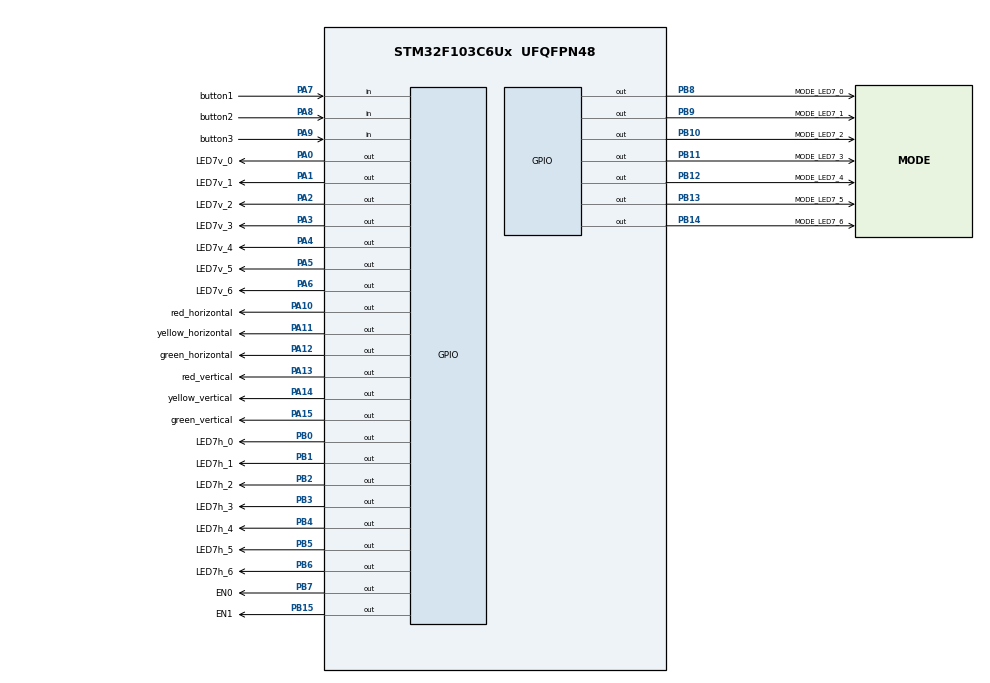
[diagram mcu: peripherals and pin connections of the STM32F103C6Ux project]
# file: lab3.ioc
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Mcu.Family=STM32F1
Mcu.Name=STM32F103C6Ux
Mcu.Package=UFQFPN48
NVIC.PriorityGroup=NVIC_PRIORITYGROUP_4
NVIC.TIM2_IRQn=true\:0\:0\:false\:false\:true\:true\:true
PA0-WKUP.GPIO_Label=LED7v_0
PA0-WKUP.Signal=GPIO_Output
PA1.GPIO_Label=LED7v_1
PA1.Signal=GPIO_Output
PA10.GPIO_Label=red_horizontal
PA10.Signal=GPIO_Output
PA11.GPIO_Label=yellow_horizontal
PA11.Signal=GPIO_Output
PA12.GPIO_Label=green_horizontal
PA12.Signal=GPIO_Output
PA13.GPIO_Label=red_vertical
PA13.Signal=GPIO_Output
PA14.GPIO_Label=yellow_vertical
PA14.Signal=GPIO_Output
PA15.GPIO_Label=green_vertical
PA15.Signal=GPIO_Output
PA2.GPIO_Label=LED7v_2
PA2.Signal=GPIO_Output
PA3.GPIO_Label=LED7v_3
PA3.Signal=GPIO_Output
PA4.GPIO_Label=LED7v_4
PA4.Signal=GPIO_Output
PA5.GPIO_Label=LED7v_5
PA5.Signal=GPIO_Output
PA6.GPIO_Label=LED7v_6
PA6.Signal=GPIO_Output
PA7.GPIO_Label=button1
PA7.GPIO_PuPd=GPIO_PULLUP
PA7.Signal=GPIO_Input
PA8.GPIO_Label=button2
PA8.GPIO_PuPd=GPIO_PULLUP
PA8.Signal=GPIO_Input
PA9.GPIO_Label=button3
PA9.GPIO_PuPd=GPIO_PULLUP
PA9.Signal=GPIO_Input
PB0.GPIO_Label=LED7h_0
PB0.Signal=GPIO_Output
PB1.GPIO_Label=LED7h_1
PB1.Signal=GPIO_Output
PB10.GPIO_Label=MODE_LED7_2
PB10.Signal=GPIO_Output
PB11.GPIO_Label=MODE_LED7_3
PB11.Signal=GPIO_Output
PB12.GPIO_Label=MODE_LED7_4
PB12.Signal=GPIO_Output
PB13.GPIO_Label=MODE_LED7_5
PB13.Signal=GPIO_Output
PB14.GPIO_Label=MODE_LED7_6
PB14.Signal=GPIO_Output
PB15.GPIO_Label=EN1
PB15.Signal=GPIO_Output
PB2.GPIO_Label=LED7h_2
PB2.Signal=GPIO_Output
PB3.GPIO_Label=LED7h_3
PB3.Signal=GPIO_Output
PB4.GPIO_Label=LED7h_4
PB4.Signal=GPIO_Output
PB5.GPIO_Label=LED7h_5
PB5.Signal=GPIO_Output
PB6.GPIO_Label=LED7h_6
PB6.Signal=GPIO_Output
PB7.GPIO_Label=EN0
PB7.Signal=GPIO_Output
PB8.GPIO_Label=MODE_LED7_0
PB8.Signal=GPIO_Output
PB9.GPIO_Label=MODE_LED7_1
PB9.Signal=GPIO_Output
ProjectManager.HeapSize=0x200
ProjectManager.StackSize=0x400
ProjectManager.TargetToolchain=STM32CubeIDE
RCC.APB1Freq_Value=8000000
RCC.APB2Freq_Value=8000000
TIM2.Period=9
TIM2.Prescaler=7999
VP_SYS_VS_ND.Mode=No_Debug
VP_TIM2_VS_ClockSourceINT.Mode=Internal
board=custom

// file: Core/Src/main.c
/* USER CODE BEGIN Header */
/**
  ******************************************************************************
  * @file           : main.c
  * @brief          : Main program body
  ******************************************************************************
  * @attention
  *
  * <h2><center>&copy; Copyright (c) 2022 STMicroelectronics.
  * All rights reserved.</center></h2>
  *
  * This software component is licensed by ST under BSD 3-Clause license,
  * the "License"; You may not use this file except in compliance with the
  * License. You may obtain a copy of the License at:
  *                        opensource.org/licenses/BSD-3-Clause
  *
  ******************************************************************************
  */
/* USER CODE END Header */
#include <fsm_automatic.h>
#include "main.h"

/* USER CODE BEGIN Includes */
#include "input_reading.h"
#include "software_timer.h"
/* USER CODE END Includes */

TIM_HandleTypeDef htim2;

void SystemClock_Config(void);
static void MX_GPIO_Init(void);
static void MX_TIM2_Init(void);

int main(void)
{

  /* MCU Configuration--------------------------------------------------------*/

  /* Reset of all peripherals, Initializes the Flash interface and the Systick. */
  HAL_Init();

  /* Configure the system clock */
  SystemClock_Config();

  /* Initialize all configured peripherals */
  MX_GPIO_Init();
  MX_TIM2_Init();
  /* USER CODE BEGIN 2 */
  HAL_TIM_Base_Start_IT(&htim2);
  /* USER CODE END 2 */

  /* Infinite loop */
  /* USER CODE BEGIN WHILE */
  if(status_mode == MODE1){
	  setTimer1(100);
  } else if(status_mode == MODE2){
	  setTimer2(100);
  } else if(status_mode == MODE3){
	  setTimer3(100);
  } else {
	  setTimer4(100);
  }

  while (1)
  {
	  fsm_mode_run();
	  fsm_button_run();
	  display();

    /* USER CODE END WHILE */

  }
}

void SystemClock_Config(void)
{
  RCC_OscInitTypeDef RCC_OscInitStruct = {0};
  RCC_ClkInitTypeDef RCC_ClkInitStruct = {0};

  /** Initializes the RCC Oscillators according to the specified parameters
  * in the RCC_OscInitTypeDef structure.
  */
  RCC_OscInitStruct.OscillatorType = RCC_OSCILLATORTYPE_HSI;
  RCC_OscInitStruct.HSIState = RCC_HSI_ON;
  RCC_OscInitStruct.HSICalibrationValue = RCC_HSICALIBRATION_DEFAULT;
  RCC_OscInitStruct.PLL.PLLState = RCC_PLL_NONE;
  if (HAL_RCC_OscConfig(&RCC_OscInitStruct) != HAL_OK)
  {
    Error_Handler();
  }
  /** Initializes the CPU, AHB and APB buses clocks
  */
  RCC_ClkInitStruct.ClockType = RCC_CLOCKTYPE_HCLK|RCC_CLOCKTYPE_SYSCLK
                              |RCC_CLOCKTYPE_PCLK1|RCC_CLOCKTYPE_PCLK2;
  RCC_ClkInitStruct.SYSCLKSource = RCC_SYSCLKSOURCE_HSI;
  RCC_ClkInitStruct.AHBCLKDivider = RCC_SYSCLK_DIV1;
  RCC_ClkInitStruct.APB1CLKDivider = RCC_HCLK_DIV1;
  RCC_ClkInitStruct.APB2CLKDivider = RCC_HCLK_DIV1;

  if (HAL_RCC_ClockConfig(&RCC_ClkInitStruct, FLASH_LATENCY_0) != HAL_OK)
  {
    Error_Handler();
  }
}

static void MX_TIM2_Init(void)
{

  TIM_ClockConfigTypeDef sClockSourceConfig = {0};
  TIM_MasterConfigTypeDef sMasterConfig = {0};

  htim2.Instance = TIM2;
  htim2.Init.Prescaler = 7999;
  htim2.Init.CounterMode = TIM_COUNTERMODE_UP;
  htim2.Init.Period = 9;
  htim2.Init.ClockDivision = TIM_CLOCKDIVISION_DIV1;
  htim2.Init.AutoReloadPreload = TIM_AUTORELOAD_PRELOAD_DISABLE;
  if (HAL_TIM_Base_Init(&htim2) != HAL_OK)
  {
    Error_Handler();
  }
  sClockSourceConfig.ClockSource = TIM_CLOCKSOURCE_INTERNAL;
  if (HAL_TIM_ConfigClockSource(&htim2, &sClockSourceConfig) != HAL_OK)
  {
    Error_Handler();
  }
  sMasterConfig.MasterOutputTrigger = TIM_TRGO_RESET;
  sMasterConfig.MasterSlaveMode = TIM_MASTERSLAVEMODE_DISABLE;
  if (HAL_TIMEx_MasterConfigSynchronization(&htim2, &sMasterConfig) != HAL_OK)
  {
    Error_Handler();
  }

}

static void MX_GPIO_Init(void)
{
  GPIO_InitTypeDef GPIO_InitStruct = {0};

  /* GPIO Ports Clock Enable */
  __HAL_RCC_GPIOA_CLK_ENABLE();
  __HAL_RCC_GPIOB_CLK_ENABLE();

  /*Configure GPIO pin Output Level */
  HAL_GPIO_WritePin(GPIOA, LED7v_0_Pin|LED7v_1_Pin|LED7v_2_Pin|LED7v_3_Pin
                          |LED7v_4_Pin|LED7v_5_Pin|LED7v_6_Pin|red_horizontal_Pin
                          |yellow_horizontal_Pin|green_horizontal_Pin|red_vertical_Pin|yellow_vertical_Pin
                          |green_vertical_Pin, GPIO_PIN_RESET);

  /*Configure GPIO pin Output Level */
  HAL_GPIO_WritePin(GPIOB, LED7h_0_Pin|LED7h_1_Pin|LED7h_2_Pin|MODE_LED7_2_Pin
                          |MODE_LED7_3_Pin|MODE_LED7_4_Pin|MODE_LED7_5_Pin|MODE_LED7_6_Pin
                          |EN1_Pin|LED7h_3_Pin|LED7h_4_Pin|LED7h_5_Pin
                          |LED7h_6_Pin|EN0_Pin|MODE_LED7_0_Pin|MODE_LED7_1_Pin, GPIO_PIN_RESET);

  /*Configure GPIO pins : LED7v_0_Pin LED7v_1_Pin LED7v_2_Pin LED7v_3_Pin
                           LED7v_4_Pin LED7v_5_Pin LED7v_6_Pin red_horizontal_Pin
                           yellow_horizontal_Pin green_horizontal_Pin red_vertical_Pin yellow_vertical_Pin
                           green_vertical_Pin */
  GPIO_InitStruct.Pin = LED7v_0_Pin|LED7v_1_Pin|LED7v_2_Pin|LED7v_3_Pin
                          |LED7v_4_Pin|LED7v_5_Pin|LED7v_6_Pin|red_horizontal_Pin
                          |yellow_horizontal_Pin|green_horizontal_Pin|red_vertical_Pin|yellow_vertical_Pin
                          |green_vertical_Pin;
  GPIO_InitStruct.Mode = GPIO_MODE_OUTPUT_PP;
  GPIO_InitStruct.Pull = GPIO_NOPULL;
  GPIO_InitStruct.Speed = GPIO_SPEED_FREQ_LOW;
  HAL_GPIO_Init(GPIOA, &GPIO_InitStruct);

  /*Configure GPIO pins : button1_Pin button2_Pin button3_Pin */
  GPIO_InitStruct.Pin = button1_Pin|button2_Pin|button3_Pin;
  GPIO_InitStruct.Mode = GPIO_MODE_INPUT;
  GPIO_InitStruct.Pull = GPIO_PULLUP;
  HAL_GPIO_Init(GPIOA, &GPIO_InitStruct);

  /*Configure GPIO pins : LED7h_0_Pin LED7h_1_Pin LED7h_2_Pin MODE_LED7_2_Pin
                           MODE_LED7_3_Pin MODE_LED7_4_Pin MODE_LED7_5_Pin MODE_LED7_6_Pin
                           EN1_Pin LED7h_3_Pin LED7h_4_Pin LED7h_5_Pin
                           LED7h_6_Pin EN0_Pin MODE_LED7_0_Pin MODE_LED7_1_Pin */
  GPIO_InitStruct.Pin = LED7h_0_Pin|LED7h_1_Pin|LED7h_2_Pin|MODE_LED7_2_Pin
                          |MODE_LED7_3_Pin|MODE_LED7_4_Pin|MODE_LED7_5_Pin|MODE_LED7_6_Pin
                          |EN1_Pin|LED7h_3_Pin|LED7h_4_Pin|LED7h_5_Pin
                          |LED7h_6_Pin|EN0_Pin|MODE_LED7_0_Pin|MODE_LED7_1_Pin;
  GPIO_InitStruct.Mode = GPIO_MODE_OUTPUT_PP;
  GPIO_InitStruct.Pull = GPIO_NOPULL;
  GPIO_InitStruct.Speed = GPIO_SPEED_FREQ_LOW;
  HAL_GPIO_Init(GPIOB, &GPIO_InitStruct);

}

/* USER CODE BEGIN 4 */
void HAL_TIM_PeriodElapsedCallback(TIM_HandleTypeDef *htim){
	timerRun();
	getKeyinputButton1();
	getKeyinputButton2();
	getKeyinputButton3();
}
/* USER CODE END 4 */

void Error_Handler(void)
{
  __disable_irq();
  while (1)
  {
  }
}

/************************ (C) COPYRIGHT STMicroelectronics *****END OF FILE****/
